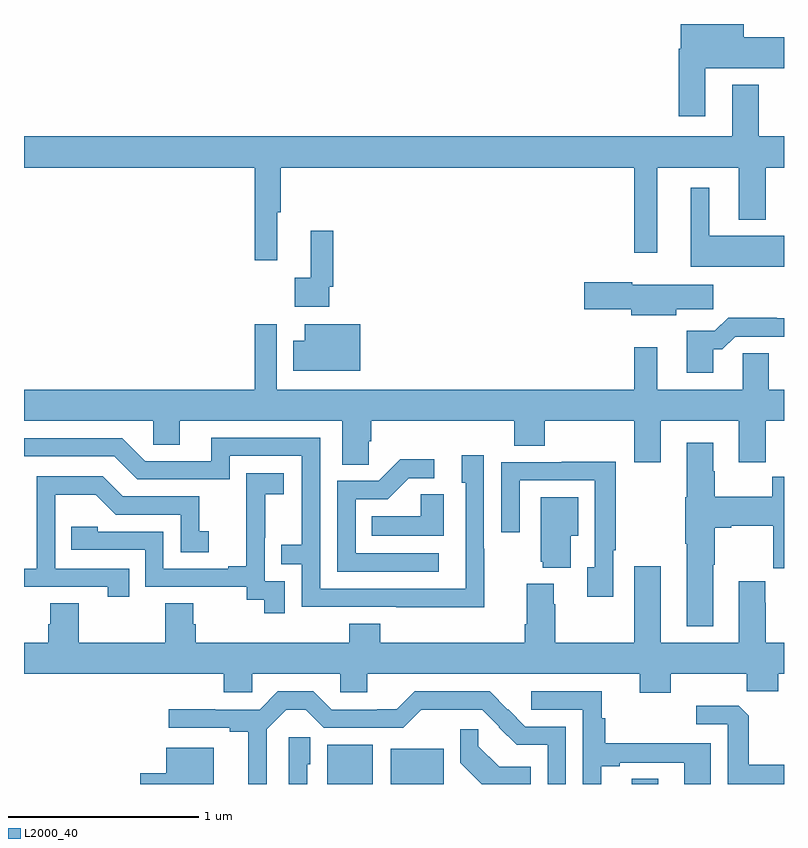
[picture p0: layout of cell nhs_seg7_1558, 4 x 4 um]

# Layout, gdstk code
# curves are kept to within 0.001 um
import gdstk
lib = gdstk.Library(unit=1e-6, precision=1e-09)
def R(c, l, rs):  # rectangles x0, y0, x1, y1
    for r in rs: c.add(gdstk.rectangle(r[:2], r[2:], *l))
def P(c, l, *ps):  # polygons
    for p in ps: c.add(gdstk.Polygon(p, *l))
L2000_40 = (2000, 40)

nhs_seg7_1558 = lib.new_cell('nhs_seg7_1558')
R(nhs_seg7_1558, L2000_40, [(218.597,1036,218.836,1036.207), (218.93,1036,219.208,1036.186), (220.199,1036,220.339,1036.028)])
P(nhs_seg7_1558, L2000_40, [(220.585,1039.766),(221,1039.766),(221,1039.93),(220.789,1039.93),(220.789,1040),(220.457,1040),(220.457,1039.87),(220.445,1039.87),(220.445,1039.515),(220.585,1039.515)],
  [(218.333,1039.008),(218.351,1039.008),(218.351,1039.244),(220.212,1039.244),(220.212,1038.795),(220.333,1038.795),(220.333,1039.244),(220.763,1039.244),(220.763,1038.971),(220.903,1038.971),(220.903,1039.244),(221,1039.244),(221,1039.408),(220.867,1039.408),(220.867,1039.681),(220.727,1039.681),(220.727,1039.408),(217,1039.408),(217,1039.244),(218.215,1039.244),(218.215,1038.756),(218.333,1038.756)],
  [(221,1038.886),(220.606,1038.886),(220.606,1039.138),(220.508,1039.138),(220.508,1038.722),(221,1038.722)],
  [(218.607,1038.616),(218.627,1038.616),(218.627,1038.913),(218.51,1038.913),(218.51,1038.665),(218.424,1038.665),(218.424,1038.512),(218.607,1038.512)],
  [(220.432,1038.499),(220.627,1038.499),(220.627,1038.628),(220.2,1038.628),(220.2,1038.641),(219.948,1038.641),(219.948,1038.499),(220.196,1038.499),(220.196,1038.467),(220.432,1038.467)],
  [(220.627,1038.287),(220.676,1038.287),(220.743,1038.354),(221,1038.354),(221,1038.452),(220.961,1038.452),(220.961,1038.455),(220.706,1038.455),(220.636,1038.385),(220.487,1038.385),(220.487,1038.165),(220.627,1038.165)],
  [(218.331,1038.421),(218.215,1038.421),(218.215,1038.076),(217,1038.076),(217,1037.912),(217.68,1037.912),(217.68,1037.785),(217.819,1037.785),(217.819,1037.912),(218.675,1037.912),(218.675,1037.68),(218.814,1037.68),(218.814,1037.803),(218.828,1037.803),(218.828,1037.912),(219.581,1037.912),(219.581,1037.779),(219.741,1037.779),(219.741,1037.912),(220.211,1037.912),(220.211,1037.694),(220.351,1037.694),(220.351,1037.912),(220.763,1037.912),(220.763,1037.694),(220.903,1037.694),(220.903,1037.912),(221,1037.912),(221,1038.076),(220.921,1038.076),(220.921,1038.266),(220.782,1038.266),(220.782,1038.076),(220.333,1038.076),(220.333,1038.298),(220.212,1038.298),(220.212,1038.076),(218.331,1038.076)],
  [(218.77,1038.421),(218.477,1038.421),(218.477,1038.334),(218.416,1038.334),(218.416,1038.176),(218.77,1038.176)],
  [(219.423,1037.237),(219.42,1037.237),(219.42,1037.731),(219.305,1037.731),(219.305,1037.586),(219.324,1037.586),(219.324,1037.028),(218.559,1037.028),(218.559,1037.823),(217.985,1037.823),(217.985,1037.7),(217.638,1037.7),(217.518,1037.82),(217,1037.82),(217,1037.724),(217.476,1037.724),(217.596,1037.604),(218.082,1037.604),(218.082,1037.727),(218.463,1037.727),(218.463,1037.258),(218.353,1037.258),(218.353,1037.157),(218.463,1037.157),(218.463,1036.932),(218.959,1036.932),(218.959,1036.93),(219.423,1036.93)],
  [(220.627,1037.155),(220.635,1037.155),(220.635,1037.348),(220.723,1037.348),(220.723,1037.36),(220.943,1037.36),(220.943,1037.136),(221,1037.136),(221,1037.618),(220.938,1037.618),(220.938,1037.512),(220.635,1037.512),(220.635,1037.646),(220.627,1037.646),(220.627,1037.797),(220.487,1037.797),(220.487,1037.508),(220.48,1037.508),(220.48,1037.264),(220.487,1037.264),(220.487,1036.829),(220.627,1036.829)],
  [(219.184,1037.214),(218.745,1037.214),(218.745,1037.499),(218.914,1037.499),(219.025,1037.61),(219.16,1037.61),(219.16,1037.708),(218.981,1037.708),(218.868,1037.595),(218.649,1037.595),(218.649,1037.118),(219.184,1037.118)],
  [(220.101,1037.23),(220.114,1037.23),(220.114,1037.696),(219.829,1037.696),(219.829,1037.694),(219.513,1037.694),(219.513,1037.325),(219.609,1037.325),(219.609,1037.598),(220.005,1037.598),(220.005,1037.142),(219.965,1037.142),(219.965,1036.986),(220.101,1036.986)],
  [(218.373,1037.067),(218.268,1037.067),(218.268,1037.297),(218.27,1037.297),(218.27,1037.525),(218.368,1037.525),(218.368,1037.635),(218.17,1037.635),(218.17,1037.429),(218.171,1037.429),(218.171,1037.146),(218.075,1037.146),(218.075,1037.133),(217.734,1037.133),(217.734,1037.328),(217.389,1037.328),(217.389,1037.355),(217.249,1037.355),(217.249,1037.232),(217.638,1037.232),(217.638,1037.037),(218.172,1037.037),(218.172,1036.969),(218.265,1036.969),(218.265,1036.899),(218.373,1036.899)],
  [(217.553,1037.133),(217.164,1037.133),(217.164,1037.522),(217.378,1037.522),(217.482,1037.418),(217.824,1037.418),(217.824,1037.22),(217.972,1037.22),(217.972,1037.329),(217.923,1037.329),(217.923,1037.514),(217.519,1037.514),(217.414,1037.619),(217.068,1037.619),(217.068,1037.133),(217,1037.133),(217,1037.037),(217.442,1037.037),(217.442,1036.986),(217.553,1036.986)],
  [(219.208,1037.525),(219.087,1037.525),(219.087,1037.41),(218.83,1037.41),(218.83,1037.306),(219.208,1037.306)],
  [(219.877,1037.306),(219.916,1037.306),(219.916,1037.509),(219.719,1037.509),(219.719,1037.169),(219.731,1037.169),(219.731,1037.138),(219.877,1037.138)],
  [(220.405,1036.58),(220.805,1036.58),(220.805,1036.487),(220.969,1036.487),(220.969,1036.58),(221,1036.58),(221,1036.744),(220.903,1036.744),(220.903,1036.955),(220.9,1036.955),(220.9,1037.068),(220.763,1037.068),(220.763,1036.744),(220.351,1036.744),(220.351,1037.146),(220.211,1037.146),(220.211,1036.744),(219.795,1036.744),(219.795,1036.946),(219.787,1036.946),(219.787,1037.053),(219.647,1037.053),(219.647,1036.84),(219.635,1036.84),(219.635,1036.744),(218.876,1036.744),(218.876,1036.843),(218.711,1036.843),(218.711,1036.744),(217.904,1036.744),(217.904,1036.842),(217.891,1036.842),(217.891,1036.952),(217.744,1036.952),(217.744,1036.744),(217.287,1036.744),(217.287,1036.952),(217.139,1036.952),(217.139,1036.842),(217.127,1036.842),(217.127,1036.744),(217,1036.744),(217,1036.58),(218.051,1036.58),(218.051,1036.482),(218.202,1036.482),(218.202,1036.58),(218.664,1036.58),(218.664,1036.482),(218.806,1036.482),(218.806,1036.58),(220.241,1036.58),(220.241,1036.481),(220.405,1036.481)],
  [(218.277,1036.287),(218.381,1036.391),(218.482,1036.391),(218.577,1036.296),(218.997,1036.296),(219.092,1036.391),(219.411,1036.392),(219.501,1036.302),(219.499,1036.3),(219.593,1036.206),(219.756,1036.206),(219.756,1036),(219.852,1036),(219.852,1036.302),(219.639,1036.302),(219.451,1036.488),(219.057,1036.488),(218.963,1036.394),(218.858,1036.394),(218.858,1036.392),(218.619,1036.392),(218.523,1036.488),(218.336,1036.488),(218.24,1036.392),(218.007,1036.392),(218.007,1036.394),(217.761,1036.394),(217.761,1036.296),(218.084,1036.296),(218.084,1036.276),(218.18,1036.276),(218.18,1036),(218.277,1036)],
  [(220.039,1036.093),(220.135,1036.093),(220.135,1036.113),(220.475,1036.113),(220.475,1036),(220.615,1036),(220.615,1036.214),(220.058,1036.214),(220.058,1036.346),(220.04,1036.346),(220.04,1036.488),(219.669,1036.488),(219.669,1036.392),(219.942,1036.392),(219.942,1036),(220.039,1036)],
  [(221,1036.102),(220.815,1036.102),(220.815,1036.359),(220.763,1036.411),(220.539,1036.411),(220.539,1036.314),(220.704,1036.314),(220.704,1036),(221,1036)],
  [(219.666,1036.092),(219.5,1036.092),(219.392,1036.2),(219.392,1036.288),(219.297,1036.288),(219.297,1036.112),(219.409,1036),(219.666,1036)],
  [(218.49,1036.104),(218.506,1036.104),(218.506,1036.247),(218.394,1036.247),(218.394,1036),(218.49,1036)],
  [(217.999,1036.192),(217.748,1036.192),(217.748,1036.057),(217.611,1036.057),(217.611,1036),(217.999,1036)])

lib.write_gds('nhs_seg7_1558.gds')
